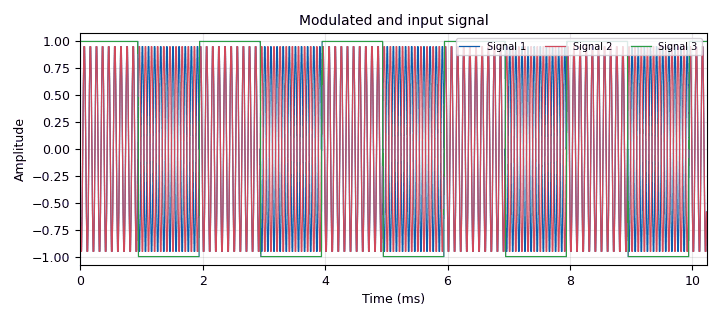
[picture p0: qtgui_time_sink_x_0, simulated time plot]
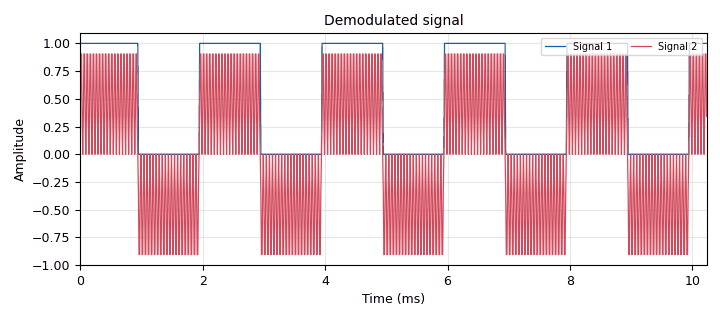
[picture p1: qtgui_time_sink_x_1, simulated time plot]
options:
  parameters:
    generate_options: qt_gui
    id: q1
    output_language: python
    title: Not titled yet
  states: {}

blocks:
- name: noise_volt
  id: variable_qtgui_range
  parameters:
    gui_hint: 0,0,1,1
    label: Noise Voltage
    start: '0'
    step: '0.01'
    stop: '5'
    value: '0.0001'
  states: {}
- name: samp_rate
  id: variable
  parameters:
    value: '100000'
  states: {}
- name: analog_sig_source_x_0
  id: analog_sig_source_x
  parameters:
    amp: '1'
    freq: '10000'
    offset: '0'
    phase: '0'
    samp_rate: samp_rate
    type: float
    waveform: analog.GR_SIN_WAVE
  states: {}
- name: analog_sig_source_x_0_0
  id: analog_sig_source_x
  parameters:
    amp: '1'
    freq: '10000'
    offset: '0'
    phase: '0'
    samp_rate: samp_rate
    type: float
    waveform: analog.GR_SIN_WAVE
  states: {}
- name: analog_sig_source_x_1
  id: analog_sig_source_x
  parameters:
    amp: '2'
    freq: '500'
    offset: '-1'
    phase: '180'
    samp_rate: samp_rate
    type: float
    waveform: analog.GR_SQR_WAVE
  states: {}
- name: blocks_multiply_xx_0
  id: blocks_multiply_xx
  parameters:
    type: float
  states: {}
- name: blocks_multiply_xx_0_0
  id: blocks_multiply_xx
  parameters:
    type: float
  states: {}
- name: blocks_threshold_ff_0
  id: blocks_threshold_ff
  parameters:
    high: '0.0001'
    init: '0'
    low: '-0.0001'
  states: {}
- name: qtgui_time_sink_x_0
  id: qtgui_time_sink_x
  parameters:
    ctrlpanel: 'True'
    name: '"Modulated and input signal"'
    nconnections: '3'
    size: '1024'
    srate: samp_rate
    type: float
  states: {}
- name: qtgui_time_sink_x_1
  id: qtgui_time_sink_x
  parameters:
    autoscale: 'True'
    ctrlpanel: 'True'
    entags: 'False'
    name: '"Demodulated signal"'
    nconnections: '2'
    size: '1024'
    srate: samp_rate
    type: float
  states: {}
- name: virtual_sink_1
  id: virtual_sink
  parameters: {}
  states: {}
- name: virtual_source_0
  id: virtual_source
  parameters: {}
  states: {}

connections:
- [analog_sig_source_x_0, '0', blocks_multiply_xx_0, '0']
- [analog_sig_source_x_0, '0', qtgui_time_sink_x_0, '1']
- [analog_sig_source_x_0_0, '0', blocks_multiply_xx_0_0, '1']
- [analog_sig_source_x_1, '0', blocks_multiply_xx_0, '1']
- [analog_sig_source_x_1, '0', qtgui_time_sink_x_0, '2']
- [blocks_multiply_xx_0, '0', qtgui_time_sink_x_0, '0']
- [blocks_multiply_xx_0, '0', virtual_sink_1, '0']
- [blocks_multiply_xx_0_0, '0', blocks_threshold_ff_0, '0']
- [blocks_multiply_xx_0_0, '0', qtgui_time_sink_x_1, '1']
- [blocks_threshold_ff_0, '0', qtgui_time_sink_x_1, '0']
- [virtual_source_0, '0', blocks_multiply_xx_0_0, '0']

metadata:
  file_format: 1
  grc_version: 3.10.9.2
